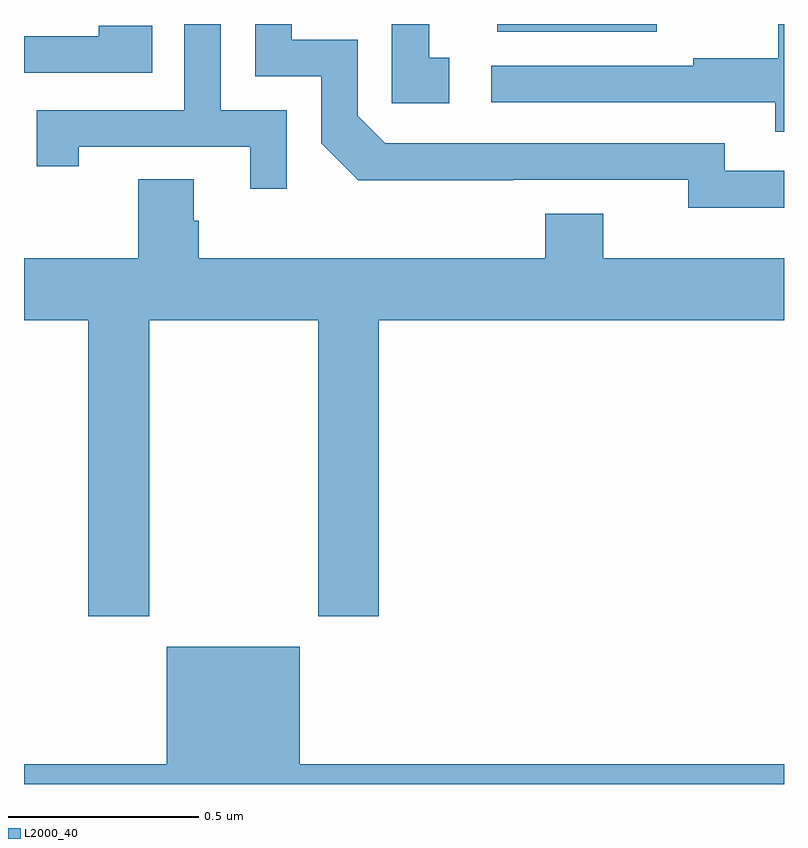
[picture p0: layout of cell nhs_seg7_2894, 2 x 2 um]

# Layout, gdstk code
import gdstk
lib = gdstk.Library(unit=1e-6, precision=1e-09)
def R(c, l, rs):  # rectangles x0, y0, x1, y1
    for r in rs: c.add(gdstk.rectangle(r[:2], r[2:], *l))
def P(c, l, *ps):  # polygons
    for p in ps: c.add(gdstk.Polygon(p, *l))
L2000_40 = (2000, 40)

nhs_seg7_2894 = lib.new_cell('nhs_seg7_2894')
R(nhs_seg7_2894, L2000_40, [(152.246,1063.979,152.665,1064)])
P(nhs_seg7_2894, L2000_40, [(151.692,1063.773),(151.518,1063.773),(151.518,1064),(151.422,1064),(151.422,1063.773),(151.033,1063.773),(151.033,1063.626),(151.144,1063.626),(151.144,1063.677),(151.595,1063.677),(151.595,1063.566),(151.692,1063.566)],
  [(153,1064),(152.985,1064),(152.985,1063.91),(152.761,1063.91),(152.761,1063.89),(152.229,1063.89),(152.229,1063.794),(152.977,1063.794),(152.977,1063.716),(153,1063.716)],
  [(152.119,1063.911),(152.066,1063.911),(152.066,1064),(151.968,1064),(151.968,1063.791),(152.119,1063.791)],
  [(153,1063.614),(152.844,1063.614),(152.844,1063.686),(151.95,1063.686),(151.878,1063.758),(151.878,1063.959),(151.705,1063.959),(151.705,1064),(151.608,1064),(151.608,1063.863),(151.782,1063.863),(151.782,1063.686),(151.88,1063.589),(152.288,1063.589),(152.288,1063.59),(152.748,1063.59),(152.748,1063.517),(153,1063.517)],
  [(151.337,1063.995),(151.197,1063.995),(151.197,1063.968),(151,1063.968),(151,1063.872),(151.337,1063.872)],
  [(151.329,1063.22),(151.774,1063.22),(151.774,1062.441),(151.934,1062.441),(151.934,1063.22),(153,1063.22),(153,1063.384),(152.524,1063.384),(152.524,1063.501),(152.372,1063.501),(152.372,1063.384),(151.46,1063.384),(151.46,1063.482),(151.447,1063.482),(151.447,1063.592),(151.3,1063.592),(151.3,1063.384),(151,1063.384),(151,1063.22),(151.169,1063.22),(151.169,1062.441),(151.329,1062.441)],
  [(153,1062.052),(151.726,1062.052),(151.726,1062.361),(151.376,1062.361),(151.376,1062.052),(151,1062.052),(151,1062),(153,1062)])

lib.write_gds('nhs_seg7_2894.gds')
